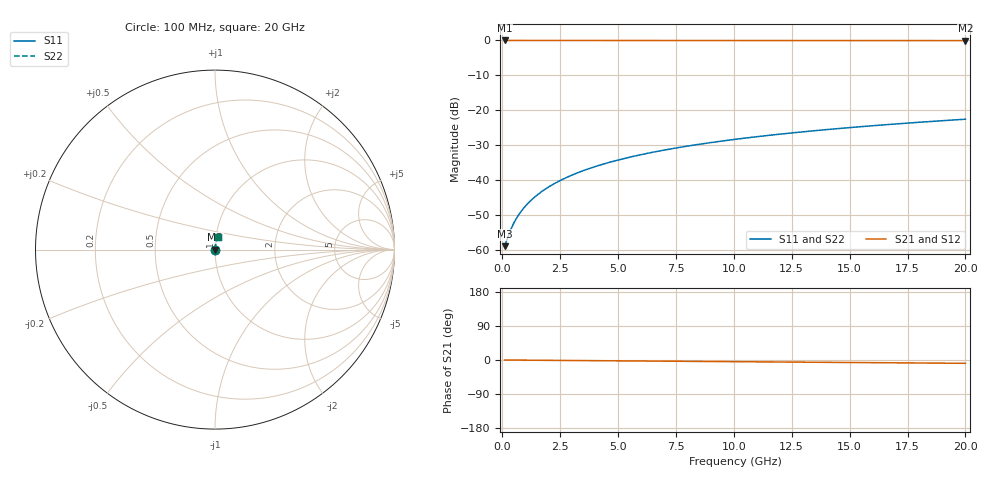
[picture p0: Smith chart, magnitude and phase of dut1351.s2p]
! Touchstone file exported from HFSS 2026.1.0
!  File:  C:/ffzhzh/LocalFiles/Ansys_Project_Files/temp_train_TMRDL_1351_1783165530_22436.aedt
!  Generated:  07:46:43 PM Jul  4, 2026
!  Design:  TMRDL
!  Project:  temp_train_TMRDL_1351_1783165530_22436
! Variables:
!  h_bsmrdl = 2um
!  h_ox = 20um
!  h_rdl = 5um
!  h_sub = 80um
!  h_tmrdl = 2.65um
!  h_tsv = 80um
!  h_via = 3um
!  l_bsmrdl = 300um
!  l_sub = 511.22um
!  l_tmrdl = 111.22um
!  m_sub = 200um
!  pitch = 34.6um
!  r_tsv = 6um
!  s_tmrdl = 10um
!  w_bsmrdl = 18um
!  w_sub = 500um
!  w_tmrdl = 20.87um
!  x_tsv_center1 = 121.655um
!  x_tsv_center2 = 439.655um
!  x_tsv_center3 = 571.745um
!  x_tsv_center4 = 889.745um
!  x_tsv_center5 = 1021.835um
!  x_tsv_center6 = 1339.835um
# GHz S MA R 50.000000
! Terminal data exported
! Port[1] = TM_RDL1_1_T1
! Port[2] = TM_RDL1_1_T2
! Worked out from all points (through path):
!   200 points, 100 MHz to 20 GHz, reference 50 ohm
!   highest |S21| = -0.01 dB at 100 MHz (marker M1); lowest = -0.1 dB at 20 GHz (marker M2)
!   group delay of S21, straight-line fit = 1.21 ps
!   lowest |S11| = -59.0 dB at 100 MHz (marker M3), VSWR 1.00, Z = 50.1 + j0.0449 ohm
!   |S11| at or under -10 dB: start of sweep to end of sweep
!   |S22| runs from -59.0 to -22.6 dB; largest |S21 - S12| = 2.1e-15
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0.1  0.001123 23.5  0.999 -0.0  0.999 -0.0  0.001123 23.5
! Gamma 0 0 0 0
! Port Impedance 50 0 50 0
0.3  0.00171 49.8  0.9989 -0.1  0.9989 -0.1  0.00171 49.8
0.4  0.002061 56.1  0.9989 -0.2  0.9989 -0.2  0.002061 56.1
0.5  0.002419 60.5  0.9988 -0.2  0.9988 -0.2  0.002419 60.5
0.6  0.002777 63.7  0.9988 -0.3  0.9988 -0.3  0.002777 63.7
0.7  0.003136 66.3  0.9987 -0.3  0.9987 -0.3  0.003136 66.3
0.9  0.003856 70.0  0.9987 -0.4  0.9987 -0.4  0.003856 70.0
1.2  0.004949 73.8  0.9987 -0.5  0.9987 -0.5  0.004949 73.8
1.4  0.005686 75.6  0.9986 -0.6  0.9986 -0.6  0.005686 75.6
1.7  0.006801 77.5  0.9986 -0.8  0.9986 -0.8  0.006801 77.5
2.2  0.008677 79.6  0.9985 -1.0  0.9985 -1.0  0.008677 79.6
2.8  0.01095 81.1  0.9985 -1.3  0.9985 -1.3  0.01095 81.1
3.5  0.0136 82.0  0.9984 -1.6  0.9984 -1.6  0.0136 82.0
4.2  0.01626 82.5  0.9983 -1.9  0.9983 -1.9  0.01626 82.5
5  0.01929 82.8  0.9982 -2.2  0.9982 -2.2  0.01929 82.8
5.9  0.02269 82.9  0.998 -2.6  0.998 -2.6  0.02269 82.9
6.8  0.02608 82.9  0.9978 -3.0  0.9978 -3.0  0.02608 82.9
8.3  0.0317 82.6  0.9974 -3.7  0.9974 -3.7  0.0317 82.6
10.1  0.03838 82.1  0.997 -4.5  0.997 -4.5  0.03838 82.1
13.4  0.05048 81.0  0.996 -5.9  0.996 -5.9  0.05048 81.0
16.7  0.06242 79.8  0.9949 -7.3  0.9949 -7.3  0.06242 79.8
20  0.07422 78.5  0.9937 -8.8  0.9937 -8.8  0.07422 78.5
